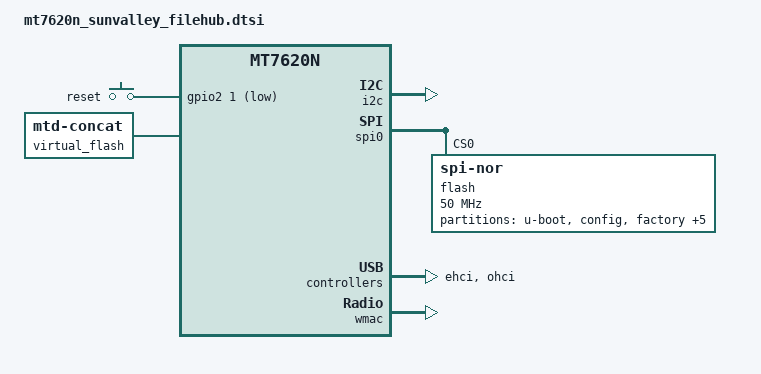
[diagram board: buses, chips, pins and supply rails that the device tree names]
// SPDX-License-Identifier: GPL-2.0-or-later OR MIT

#include "mt7620n.dtsi"

#include <dt-bindings/gpio/gpio.h>
#include <dt-bindings/input/input.h>

/ {
	aliases {
		label-mac-device = &ethernet;
	};

	keys {
		compatible = "gpio-keys";

		reset {
			label = "reset";
			gpios = <&gpio2 1 GPIO_ACTIVE_LOW>;
			linux,code = <KEY_RESTART>;
		};
	};

	virtual_flash {
		compatible = "mtd-concat";

		devices = <&firmware1 &firmware2 &firmware3>;

		partitions {
			compatible = "fixed-partitions";
			#address-cells = <1>;
			#size-cells = <1>;

			partition@0 {
				compatible = "openwrt,okli";
				label = "firmware";
				reg = <0x0 0x0>;
			};
		};
	};
};

&gpio2 {
	status = "okay";
};

&gpio3 {
	status = "okay";
};

&i2c {
	status = "okay";
};

&spi0 {
	status = "okay";

	flash@0 {
		compatible = "jedec,spi-nor";
		reg = <0>;
		spi-max-frequency = <50000000>;
		m25p,fast-read;

		partitions {
			compatible = "fixed-partitions";
			#address-cells = <1>;
			#size-cells = <1>;

			partition@0 {
				label = "u-boot";
				reg = <0x0 0x30000>;
				read-only;
			};

			partition@30000 {
				label = "config";
				reg = <0x30000 0x10000>;
				read-only;
			};

			factory: partition@40000 {
				label = "factory";
				reg = <0x40000 0x10000>;
				read-only;
			};

			partition@50000 {
				label = "loader";
				reg = <0x50000 0x10000>;
				read-only;
			};

			firmware2: partition@60000 {
				label = "firmware2";
				reg = <0x60000 0x170000>;
			};

			partition@1d0000 {
				label = "u-boot-env";
				reg = <0x1d0000 0x10000>;
			};

			firmware3: partition@1e0000 {
				label = "firmware3";
				reg = <0x1e0000 0x20000>;
			};

			firmware1: partition@200000 {
				label = "firmware1";
				reg = <0x200000 0x600000>;
			};
		};
	};
};

&ehci {
	status = "okay";
};

&ohci {
	status = "okay";
};

&ethernet {
	mtd-mac-address = <&factory 0x28>;
};

&wmac {
	ralink,mtd-eeprom = <&factory 0x0>;
};

&state_default {
	gpio {
		groups = "wled", "ephy";
		function = "gpio";
	};
};
